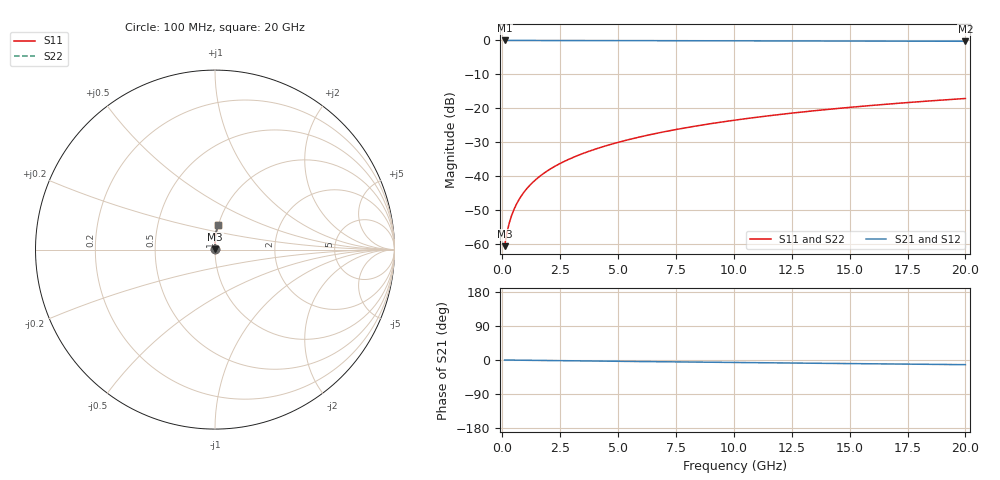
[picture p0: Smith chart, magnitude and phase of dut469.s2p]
! Touchstone file exported from HFSS 2024.1.0
!  File:  C:/UserFiles/LocalFiles/RDL_TSV_Batchsim/temp_RDL_top_469_1779677877.aedt
!  Generated:  11:00:03 AM May 25, 2026
!  Design:  RDL_top
!  Project:  temp_RDL_top_469_1779677877
!  Setup:  Setup1
!  Solution:  Sweep
! Variables:
!  dtsv = 10.80580581um
!  hbump = 3um
!  htsv = 96.68um
!  ldown = 100um
!  lrdl = 141.32um
!  p = 40
!  p1 = 52.52um
!  rhole = 1um
!  t = 450um
!  tdown = 3.915915916um
!  trdl = 4.58um
!  wdown = 15.38538539um
!  wrdl = 22.96um
# GHz S MA R 50.000000
! Terminal data exported
! Port[1] = Box2_T1
! Port[2] = Box2_T2
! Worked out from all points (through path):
!   200 points, 100 MHz to 20 GHz, reference 50 ohm
!   highest |S21| = -0.01 dB at 100 MHz (marker M1); lowest = -0.2 dB at 20 GHz (marker M2)
!   group delay of S21, straight-line fit = 1.69 ps
!   lowest |S11| = -60.7 dB at 100 MHz (marker M3), VSWR 1.00, Z = 50.1 + j0.0658 ohm
!   |S11| at or under -10 dB: start of sweep to end of sweep
!   |S22| runs from -60.7 to -17.1 dB; largest |S21 - S12| = 4e-15
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0.1  0.0009217 45.4  0.9994 -0.1  0.9994 -0.1  0.0009217 45.4
! Gamma 0 0 0 0
! Port Impedance 50 0 50 0
0.2  0.001456 62.1  0.9993 -0.1  0.9993 -0.1  0.001456 62.1
0.3  0.002024 69.5  0.9993 -0.2  0.9993 -0.2  0.002024 69.5
0.4  0.0026 73.8  0.9992 -0.3  0.9992 -0.3  0.0026 73.8
0.5  0.003182 76.6  0.9992 -0.4  0.9992 -0.4  0.003182 76.6
0.6  0.003769 78.7  0.9991 -0.4  0.9991 -0.4  0.003769 78.7
0.8  0.004955 81.5  0.9991 -0.6  0.9991 -0.6  0.004955 81.5
1.1  0.006753 83.9  0.9989 -0.8  0.9989 -0.8  0.006753 83.9
1.5  0.009174 85.8  0.9987 -1.1  0.9987 -1.1  0.009174 85.8
1.8  0.011 86.7  0.9985 -1.3  0.9985 -1.3  0.011 86.7
2.1  0.01285 87.4  0.9982 -1.5  0.9982 -1.5  0.01285 87.4
2.7  0.01656 88.4  0.9976 -1.9  0.9976 -1.9  0.01656 88.4
3.5  0.02161 89.2  0.9967 -2.4  0.9967 -2.4  0.02161 89.2
4.2  0.02611 89.7  0.9958 -2.9  0.9958 -2.9  0.02611 89.7
5  0.03136 90.0  0.9946 -3.4  0.9946 -3.4  0.03136 90.0
5.9  0.03741 90.2  0.9932 -4.0  0.9932 -4.0  0.03741 90.2
6.8  0.04359 90.1  0.9918 -4.6  0.9918 -4.6  0.04359 90.1
8.4  0.05485 89.7  0.9892 -5.6  0.9892 -5.6  0.05485 89.7
10.1  0.06709 89.0  0.9866 -6.6  0.9866 -6.6  0.06709 89.0
13.4  0.09121 87.0  0.9816 -8.5  0.9816 -8.5  0.09121 87.0
16.7  0.1153 84.7  0.9769 -10.4  0.9769 -10.4  0.1153 84.7
20  0.1392 82.4  0.9721 -12.3  0.9721 -12.3  0.1392 82.4
